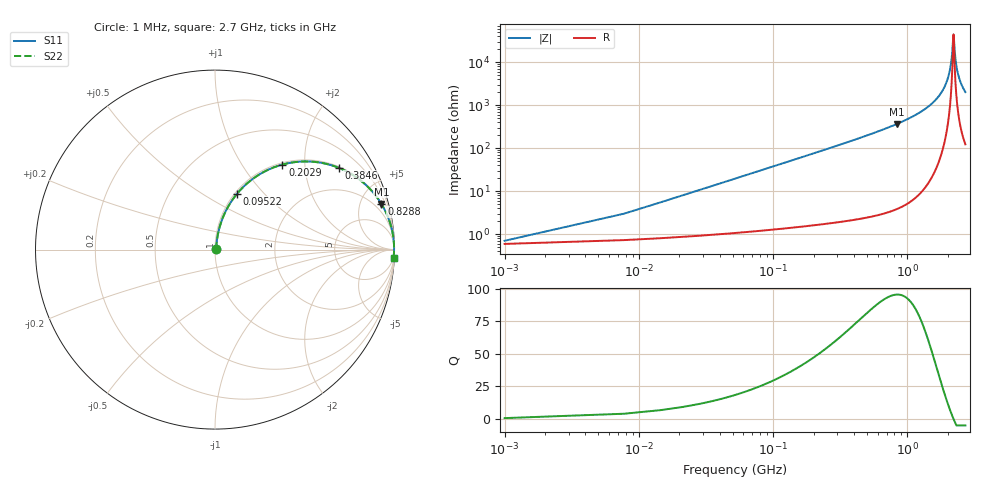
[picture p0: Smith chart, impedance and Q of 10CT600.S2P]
! Coilcraft 1008CT-600 Chip Inductor
! 17 July 2002
# MHZ S MA R 50
!Freq  MagS11  AngS11  MagS21  AngS21  MagS12  AngS12  MagS22  AngS22
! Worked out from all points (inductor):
!   403 points, 1 MHz to 2.7 GHz, reference 50 ohm
!   read as one part in series: L = 60 nH near 14.46 MHz
!   highest Q = 95.4 at 828.8 MHz (marker M1), where L = 69.9 nH
!   self-resonance near 2.202 GHz
!   S11 on the Smith chart (normalised r, x): 1 MHz: 1.01, +0.01; 95.22 MHz: 1.03, +0.72; 202.9 MHz: 1.03, +1.54; 384.6 MHz: 1.04, +2.99; 828.8 MHz: 1.08, +7.28; 2.7 GHz: 3, -40
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1  0.00701 32.1  0.9941 -0.2  0.9941 -0.2  0.00701 32.1
21.19  0.07942 79.3  0.9883 -4.5  0.9883 -4.5  0.07942 79.3
34.65  0.1287 78.4  0.9822 -7.4  0.9822 -7.4  0.1287 78.4
61.57  0.2242 74.3  0.9638 -12.9  0.9638 -12.9  0.2242 74.3
95.22  0.3349 68.4  0.9306 -19.6  0.9306 -19.6  0.3349 68.4
202.9  0.6048 51.6  0.7838 -37.2  0.7838 -37.2  0.6048 51.6
384.61  0.8259 33.5  0.5522 -55.7  0.5522 -55.7  0.8259 33.5
451.91  0.8669 29.2  0.4874 -60.1  0.4874 -60.1  0.8669 29.2
828.79  0.9617 15.3  0.2642 -74.1  0.2642 -74.1  0.9617 15.3
902.82  0.969 13.7  0.2369 -75.7  0.2369 -75.7  0.969 13.7
1353.73  0.9909 6.9  0.1208 -82.2  0.1208 -82.2  0.9909 6.9
1804.64  0.997 2.8  0.04824 -85.0  0.04824 -85.0  0.997 2.8
1959.43  0.9976 1.6  0.02828 -84.3  0.02828 -84.3  0.9976 1.6
2067.11  0.9978 0.9  0.01545 -81.3  0.01545 -81.3  0.9978 0.9
2134.41  0.9978 0.4  0.00791 -73.6  0.00791 -73.6  0.9978 0.4
2201.71  0.9977 0.0  0.002255 -3.7  0.002255 -3.7  0.9977 0.0
2215.17  0.9977 -0.1  0.002622 30.1  0.002622 30.1  0.9977 -0.1
2255.55  0.9977 -0.3  0.006113 67.4  0.006113 67.4  0.9977 -0.3
2316.12  0.9975 -0.7  0.01226 78.0  0.01226 78.0  0.9975 -0.7
2403.61  0.9973 -1.2  0.02109 81.9  0.02109 81.9  0.9973 -1.2
2531.48  0.9967 -1.9  0.03356 83.4  0.03356 83.4  0.9967 -1.9
2700  0.9958 -2.8  0.04919 83.7  0.04919 83.7  0.9958 -2.8
